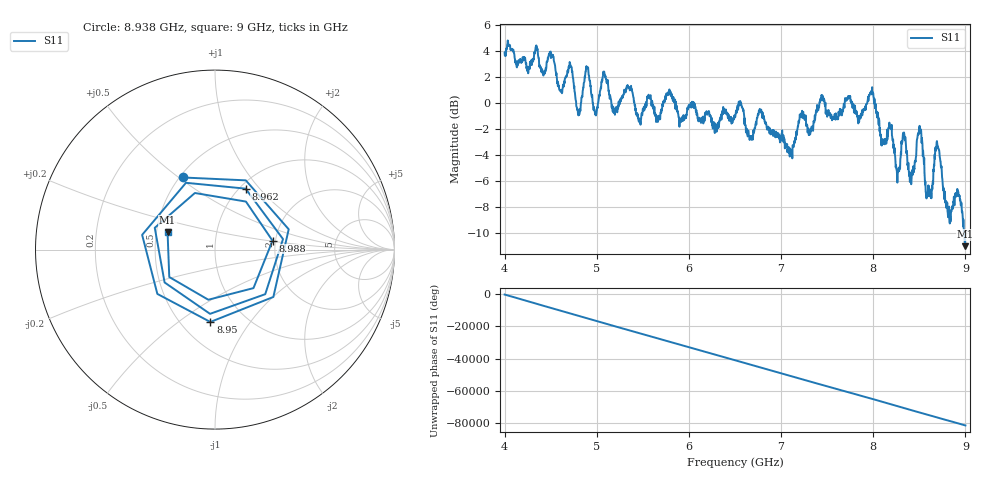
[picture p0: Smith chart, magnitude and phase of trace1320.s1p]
! Created with skrf 1.8.0 (http://scikit-rf.org).
# Hz S RI R 50.0
!freq ReS11 ImS11
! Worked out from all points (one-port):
!   1601 points, 4 GHz to 9 GHz, reference 50 ohm
!   lowest |S11| = -11.0 dB at 9 GHz (marker M1), VSWR 1.78, Z = 28.6 + j6.03 ohm
!   |S11| at or under -10 dB: 8.989131 GHz to end of sweep
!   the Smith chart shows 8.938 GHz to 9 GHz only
!   S11 on the Smith chart (normalised r, x): 8.938 GHz: 0.52, +0.52; 8.95 GHz: 0.69, -0.66; 8.962 GHz: 1.06, +0.85; 8.988 GHz: 1.93, +0.21; 9 GHz: 0.57, +0.12
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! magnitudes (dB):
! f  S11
! 4 GHz  3.9
! 4.506 GHz  3.8
! 4.625 GHz  0.8
! 4.716 GHz  2.8
! 4.803 GHz  -0.9
! 4.894 GHz  2.7
! 4.981 GHz  -0.7
! 5.078 GHz  2.4
! 5.25 GHz  -0.1
! 5.875 GHz  -0.7
! 6.5 GHz  -1.1
! 7.125 GHz  -3.3
! 7.225 GHz  -1.1
! 7.75 GHz  0.5
! 7.988 GHz  1.2
! 8.1 GHz  -2.8
! 8.331 GHz  -2.5
! 8.375 GHz  -4.6
! 8.422 GHz  -5.4
! 8.506 GHz  -2.3
! 8.594 GHz  -6.6
! 8.697 GHz  -3.2
! 8.816 GHz  -8.3
! 8.938 GHz  -7.1
! 8.95 GHz  -7.9
! 8.962 GHz  -8.4
! 8.988 GHz  -9.8
! 9 GHz  -11.0
